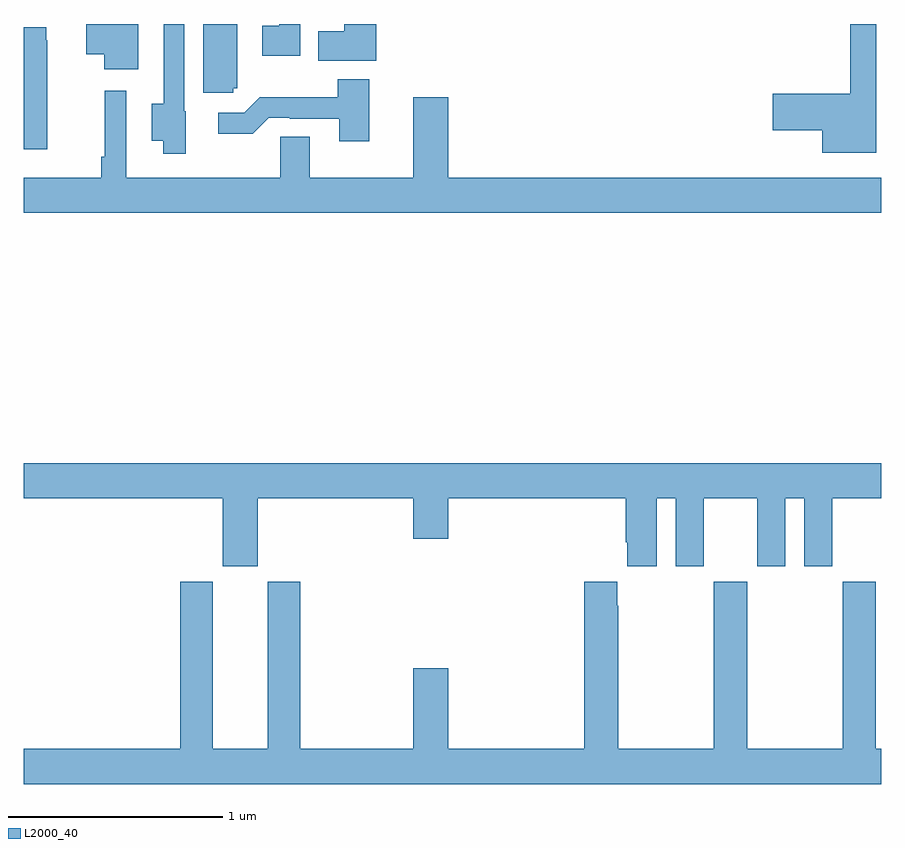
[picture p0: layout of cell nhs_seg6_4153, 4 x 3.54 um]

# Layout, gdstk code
import gdstk
lib = gdstk.Library(unit=1e-6, precision=1e-09)
def P(c, l, *ps):  # polygons
    for p in ps: c.add(gdstk.Polygon(p, *l))
L2000_40 = (2000, 40)

nhs_seg6_4153 = lib.new_cell('nhs_seg6_4153')
P(nhs_seg6_4153, L2000_40, [(358.975,997.5),(358.854,997.5),(358.854,997.175),(358.494,997.175),(358.494,997.004),(358.724,997.004),(358.724,996.899),(358.975,996.899)],
  [(355.977,997.2),(355.996,997.2),(355.996,997.5),(355.838,997.5),(355.838,997.179),(355.977,997.179)],
  [(355.534,997.5),(355.292,997.5),(355.292,997.358),(355.376,997.358),(355.376,997.29),(355.534,997.29)],
  [(356.289,997.5),(356.192,997.5),(356.192,997.492),(356.112,997.492),(356.112,997.352),(356.289,997.352)],
  [(355.756,997.092),(355.749,997.092),(355.749,997.5),(355.653,997.5),(355.653,997.127),(355.598,997.127),(355.598,996.956),(355.652,996.956),(355.652,996.896),(355.756,996.896)],
  [(356.645,997.5),(356.495,997.5),(356.495,997.466),(356.374,997.466),(356.374,997.328),(356.645,997.328)],
  [(355.111,997.425),(355.105,997.425),(355.105,997.484),(355,997.484),(355,996.915),(355.111,996.915)],
  [(356.611,997.243),(356.464,997.243),(356.464,997.159),(356.101,997.159),(356.028,997.086),(355.908,997.086),(355.908,996.989),(356.069,996.989),(356.142,997.062),(356.242,997.062),(356.242,997.059),(356.471,997.059),(356.471,996.954),(356.611,996.954)],
  [(359,996.784),(356.98,996.784),(356.98,997.159),(356.816,997.159),(356.816,996.784),(356.335,996.784),(356.335,996.974),(356.196,996.974),(356.196,996.784),(355.479,996.784),(355.479,997.189),(355.378,997.189),(355.378,996.88),(355.363,996.88),(355.363,996.784),(355,996.784),(355,996.62),(359,996.62)],
  [(356.092,995.288),(356.816,995.288),(356.816,995.1),(356.98,995.1),(356.98,995.288),(357.809,995.288),(357.809,995.083),(357.815,995.083),(357.815,994.971),(357.952,994.971),(357.952,995.288),(358.04,995.288),(358.04,994.971),(358.171,994.971),(358.171,995.288),(358.421,995.288),(358.421,994.971),(358.552,994.971),(358.552,995.288),(358.64,995.288),(358.64,994.971),(358.771,994.971),(358.771,995.288),(359,995.288),(359,995.452),(355,995.452),(355,995.288),(355.928,995.288),(355.928,994.971),(356.092,994.971)],
  [(359,994.12),(358.974,994.12),(358.974,994.9),(358.819,994.9),(358.819,994.12),(358.374,994.12),(358.374,994.9),(358.219,994.9),(358.219,994.12),(357.774,994.12),(357.774,994.787),(357.769,994.787),(357.769,994.9),(357.614,994.9),(357.614,994.12),(356.98,994.12),(356.98,994.495),(356.816,994.495),(356.816,994.12),(356.291,994.12),(356.291,994.899),(356.138,994.899),(356.138,994.12),(355.882,994.12),(355.882,994.899),(355.73,994.899),(355.73,994.12),(355,994.12),(355,993.956),(359,993.956)])

lib.write_gds('nhs_seg6_4153.gds')
